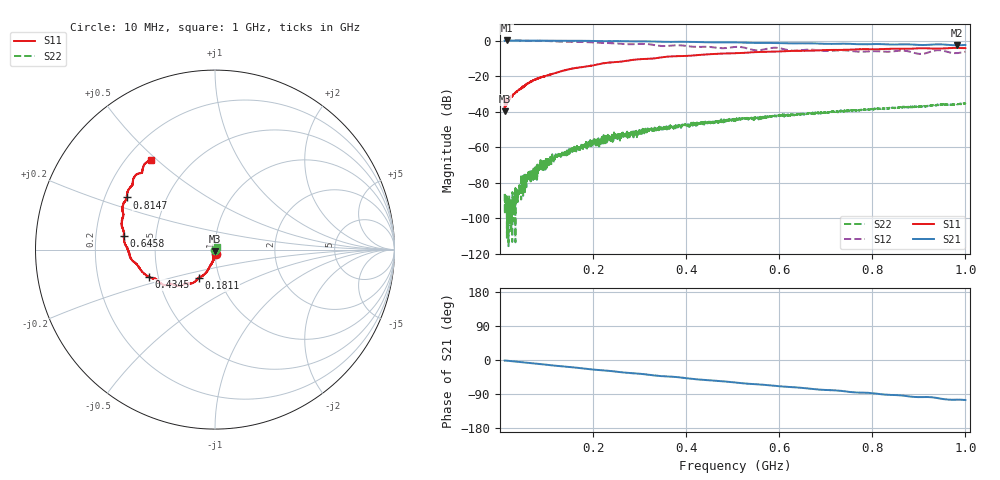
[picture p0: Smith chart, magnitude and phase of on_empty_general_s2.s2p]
!Agilent Technologies,E8362C,MY43020457,A.09.42.15
!Agilent E8362C: A.09.42.15
!Date: Friday, March 13, 2026 14:05:27
!Correction: S11(Full 2 Port(1,2))
!S21(Full 2 Port(1,2))
!S12(Full 2 Port(1,2))
!S22(Full 2 Port(1,2))
!S2P File: Measurements: S11, S21, S12, S22:
# Hz S  dB  R 50
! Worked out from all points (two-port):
!   3201 points, 10 MHz to 1 GHz, reference 50 ohm
!   highest |S21| = 0.03 dB at 15.57 MHz (marker M1); lowest = -2.7 dB at 981.7 MHz (marker M2)
!   |S21| within 3 dB of the highest: start of sweep to end of sweep
!   lowest |S11| = -39.9 dB at 10.31 MHz (marker M3), VSWR 1.02, Z = 50.1 - j1.01 ohm
!   |S11| at or under -10 dB: start of sweep to 334 MHz
!   |S22| runs from -115.8 to -35.4 dB; largest |S21 - S12| = 0.34
!   S11 on the Smith chart (normalised r, x): 10 MHz: 1.01, -0.05; 181.1 MHz: 0.80, -0.26; 434.5 MHz: 0.44, -0.16; 645.8 MHz: 0.32, +0.07; 814.7 MHz: 0.29, +0.25; 1 GHz: 0.30, +0.48
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1e7  -32.90 -81.7  -0.10 -1.2  -0.22 -1.6  -86.52 112.5
1.030938e7  -39.87 -82.4  -0.00 -1.0  -0.17 -2.0  -89.81 -121.7
1.556875e7  -34.62 -107.3  0.03 -1.8  -0.16 -2.1  -91.05 158.7
4.2175e7  -27.42 -101.5  -0.02 -5.4  -0.04 -8.0  -82.09 170.4
7.125625e7  -22.45 -103.1  -0.05 -8.8  -0.24 -12.6  -78.49 162.4
1.21375e8  -18.15 -109.2  -0.11 -15.3  -0.56 -22.4  -65.07 161.1
1.752062e8  -15.03 -119.2  -0.16 -21.7  -0.82 -30.4  -59.44 147.9
1.810844e8  -14.80 -119.7  -0.19 -22.6  -0.87 -31.5  -58.08 146.8
3.401031e8  -9.77 -142.7  -0.63 -41.9  -2.88 -54.4  -49.61 113.8
4.344625e8  -7.99 -157.6  -0.95 -52.1  -3.55 -61.2  -45.91 104.4
5.05e8  -7.16 -168.2  -1.08 -59.2  -3.64 -65.5  -44.46 97.9
5.347e8  -6.76 -171.6  -1.26 -62.8  -4.72 -75.4  -43.75 91.2
5.743e8  -6.38 -178.1  -1.39 -66.3  -4.61 -67.0  -42.97 88.1
6.117344e8  -6.02 176.9  -1.51 -70.4  -4.97 -80.0  -42.25 85.6
6.457656e8  -5.79 171.7  -1.60 -73.1  -5.50 -74.7  -41.24 83.1
6.702062e8  -5.69 168.8  -1.63 -76.2  -5.17 -79.1  -40.87 79.8
8.146844e8  -4.89 149.4  -2.01 -89.6  -6.12 -86.8  -38.25 66.9
8.351031e8  -4.71 146.9  -2.19 -91.9  -6.32 -86.3  -38.20 64.9
9.056406e8  -4.36 137.4  -2.52 -97.9  -7.52 -89.5  -37.25 59.4
9.424562e8  -4.54 133.2  -2.17 -100.9  -5.43 -92.1  -36.12 56.6
9.817469e8  -4.18 128.0  -2.66 -104.6  -7.08 -94.5  -35.92 52.8
1e9  -4.27 125.3  -2.52 -105.6  -6.34 -93.3  -35.74 51.9
